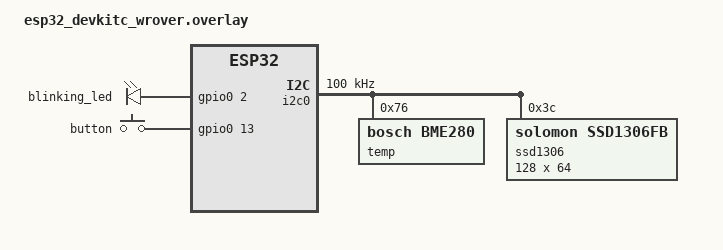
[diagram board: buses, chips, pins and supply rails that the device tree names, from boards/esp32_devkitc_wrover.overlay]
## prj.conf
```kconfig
#CONFIG_PWM=y

# GPIO
CONFIG_GPIO=y

# Logging
CONFIG_LOG=y
CONFIG_CONSOLE=y


# Sensors
CONFIG_I2C=y
CONFIG_SENSOR=y

# Display
CONFIG_DISPLAY=y
# CONFIG_DISPLAY_LOG_LEVEL_DBG=y
CONFIG_SSD1306=y
#CONFIG_SSD1306_SH1106_COMPATIBLE=y
# CONFIG_SSD1306_REVERSE_MODE=y
#CONFIG_SSD1306_DEFAULT=Y
CONFIG_SSD1306_DEFAULT_CONTRAST=128



CONFIG_CHARACTER_FRAMEBUFFER=y

# Shell
CONFIG_SHELL=y
CONFIG_I2C_SHELL=y
#CONFIG_SSD1306_SH1106_COMPATIBLE=y
```

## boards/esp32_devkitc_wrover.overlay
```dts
#include <zephyr/dt-bindings/gpio/gpio.h>
//#include <zephyr/drivers/sensor.h>
/ {
    leds {
        compatible = "gpio-leds";
        blinking_led: blinking_led {
            gpios = <&gpio0 2 GPIO_ACTIVE_HIGH>;
        };
    };
    buttons {
        compatible = "gpio-keys";
        button: button {
            gpios = <&gpio0 13 GPIO_ACTIVE_HIGH>;
        };

    };
    // chosen {
    //     zephyr,display = &ssd1306;
    // };
};

&i2c0 {
    status = "okay";
    compatible = "espressif,esp32-i2c";
    clock-frequency = <I2C_BITRATE_STANDARD>;

    temp: bme280@76 {
        compatible = "bosch,bme280";
        reg = <0x76>;
    };

    ssd1306: ssd1306@3c {
        
        compatible = "solomon,ssd1306fb";

        reg = <0x3c>;
        height = <64>;
        width = <128>;
        segment-offset = <0>;
        page-offset = <0>;
        display-offset = <0>;
        multiplex-ratio = <63>;
        prechargep = <0x22>;
        segment-remap;
        com-invdir;
        com-sequential;

    };

};
```

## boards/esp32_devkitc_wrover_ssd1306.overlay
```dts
#include <zephyr/dt-bindings/gpio/gpio.h>
/{
    leds {
        compatible = "gpio-leds";
        blinking_led: blinking_led {
            gpios = <&gpio0 2 GPIO_ACTIVE_HIGH>;
        };
    };
    buttons {
        compatible = "gpio-keys";
        button: button {
            gpios = <&gpio0 13 GPIO_ACTIVE_HIGH>;
        };
        
    };
	chosen {
        zephyr,display = &ssd1306;
	};
 
};


&i2c0{
    status = "okay";
    clock-frequency = <I2C_BITRATE_STANDARD>;

    ssd1306: ssd1306@3c {
        status = "okay";
        compatible = "solomon,ssd1306fb";
        
        reg = <0x3c>;
        height = <64>;
        width  = <128>;
        segment-offset  = <0>;
        page-offset     = <0>;
        display-offset  = <0>;
        multiplex-ratio = <63>;
        prechargep      = <0x22>;
        segment-remap;
        com-invdir;
        com-sequential;
        
    };
   
     
};
```

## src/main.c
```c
#include <zephyr/kernel.h>
#include <zephyr/drivers/gpio.h>
#include <zephyr/device.h>
#include <zephyr/logging/log.h>
#include <zephyr/display/cfb.h>
#include "button.h"
#include <zephyr/drivers/sensor.h>

/* Definition used in Part 1
static const struct device *gpio_ct_dev =
   DEVICE_DT_GET(DT_NODELABEL(gpio0)) ;
  static const int BUILTIN_LED_PIN = 2;
*/
LOG_MODULE_REGISTER(main);
// Declaration using Device tree struct
static const struct gpio_dt_spec led =
    GPIO_DT_SPEC_GET(DT_NODELABEL(blinking_led), gpios);

//static const struct device *display = DEVICE_DT_GET(DT_NODELABEL(ssd1306));

static char *helper_button_evt_str(enum button_evt evt)
{
  switch (evt)
  {
  case BUTTON_EVT_PRESSED:
    return "Pressed";
  case BUTTON_EVT_RELEASED:
    return "Released";
  default:
    return "Unknown";
  }
}

 static void button_event_handler(enum button_evt evt)
{
  printk("Button event: %s\n", helper_button_evt_str(evt));
  switch (evt)
  {
  case BUTTON_EVT_PRESSED:
    gpio_pin_toggle_dt(&led);
    break;

  default:
    break;
  }
}



void setupLeds()
{
  //  if (!device_is_ready(gpio_ct_dev))
  printk("Initialising LEDs !\n");
  if (!device_is_ready(led.port))
  {
    return;
  }
  int ret;
  /*ret = gpio_pin_configure(gpio_ct_dev, BUILTIN_LED_PIN, GPIO_OUTPUT_ACTIVE);
   */
  ret = gpio_pin_configure_dt(&led, GPIO_OUTPUT_ACTIVE);
  if (ret != 0)
  {
    return;
  }
}
void setupButtons()
{
  int err = -1;

  printk("Initialising button !\n");

  err = button_init(button_event_handler);
  if (err)
  {
    printk("Button Init failed: %d\n", err);
    return;
  }

  printk("Init succeeded. Waiting for event...\n");
}

// bool setupDisplay(){
//   if (display==NULL){
//     LOG_ERR("Display device pointer is null");
//     return false;
//   }

//   if (!device_is_ready(display)){
//     LOG_ERR("Display device not ready");
//     return false;
//   }

//   int ret;
//   ret = cfb_framebuffer_init(display);
//   if (ret!=0){
//     LOG_ERR("Could not initialise the display");
//     return false;
//   }


//   return true;
// }

int main(void)
{

  /*-------------------
  -Setup
  ---------------------*/
  int ret;
  setupLeds();
  setupButtons();

  // if (setupDisplay()==true){
  //   ret = cfb_print(display,"Hello Rooney",0,0);
  //   if (ret!=0){
  //     LOG_ERR("could not print to display");
  //     return;
  //   }
  //   ret = cfb_framebuffer_finalize(display);
  //   if (ret!=0){
  //     LOG_ERR("could not finalise");
  //     return;
  //   }
  // }
  
 gpio_pin_set_dt(&led,0);
/*
  while (true)
  {
    // ret = gpio_pin_set_raw(gpio_ct_dev, BUILTIN_LED_PIN, 1);
    ret = gpio_pin_toggle_dt(&led);
    if (ret != 0)
    {
      return;
    }
    k_msleep(1000);

    //     ret = gpio_pin_set_raw(gpio_ct_dev, BUILTIN_LED_PIN, 0);
    // if (ret != 0)
    // {
    //   return;
    // }
    // k_msleep(1000);
  }
  */
}
```

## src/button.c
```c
#include <zephyr/kernel.h>
#include <zephyr/drivers/gpio.h>
#include "button.h"

#define SW0_NODE	DT_ALIAS(sw0)

static const struct gpio_dt_spec button = GPIO_DT_SPEC_GET(DT_NODELABEL(button), gpios);
static struct gpio_callback button_cb_data;

static button_event_handler_t user_cb;

static void cooldown_expired(struct k_work *work)
{
    ARG_UNUSED(work);

    int val = gpio_pin_get_dt(&button);
    enum button_evt evt = val ? BUTTON_EVT_PRESSED : BUTTON_EVT_RELEASED;
    if (user_cb) {
        user_cb(evt);
    }
}

static K_WORK_DELAYABLE_DEFINE(cooldown_work, cooldown_expired);

void button_pressed(const struct device *dev, struct gpio_callback *cb,
		    uint32_t pins)
{
    k_work_reschedule(&cooldown_work, K_MSEC(25));
}

int button_init(button_event_handler_t handler)
{
    int err = -1;

    if (!handler) {
        return -EINVAL;
    }

    user_cb = handler;

	if (!device_is_ready(button.port)) {
		return -EIO;
	}

	err = gpio_pin_configure_dt(&button, GPIO_INPUT);
	if (err) {
        return err;
	}

	err = gpio_pin_interrupt_configure_dt(&button, GPIO_INT_EDGE_BOTH);
	if (err) {
		return err;
	}

	gpio_init_callback(&button_cb_data, button_pressed, BIT(button.pin));
	err = gpio_add_callback(button.port, &button_cb_data);
    if (err) {
        return err;
    }

    return 0;
}
```
